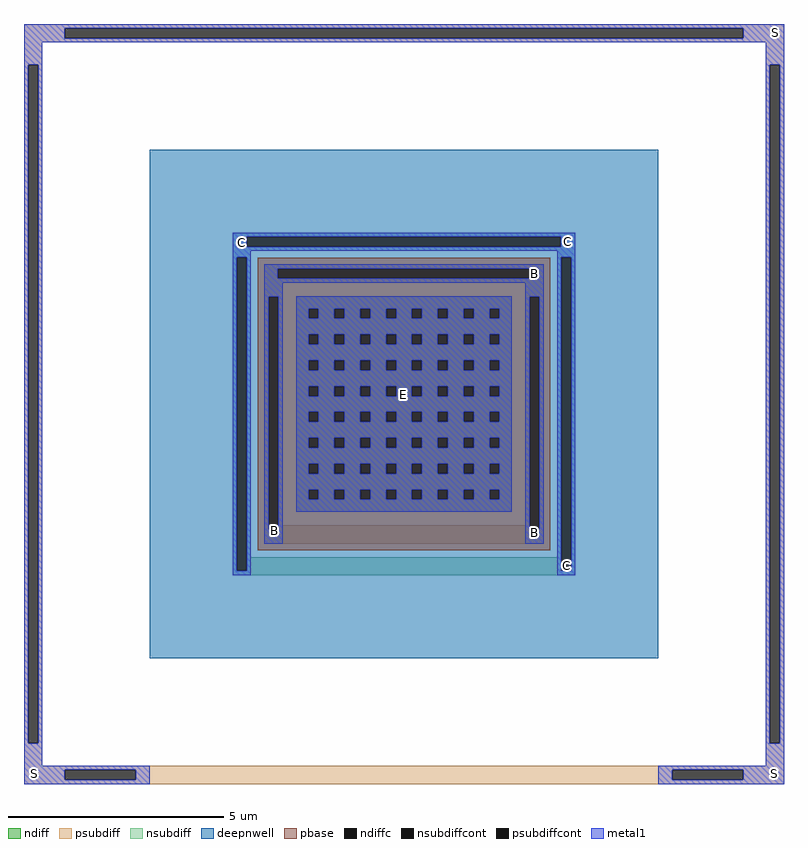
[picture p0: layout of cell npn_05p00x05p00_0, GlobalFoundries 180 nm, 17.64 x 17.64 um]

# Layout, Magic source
magic
tech gf180mcuD
magscale 1 10
<< deepnwell >>
rect -680 -680 1680 1680
<< pbase >>
rect -180 -180 1180 1180
<< ndiff >>
rect 0 943 1000 1000
rect 0 897 57 943
rect 103 897 177 943
rect 223 897 297 943
rect 343 897 417 943
rect 463 897 537 943
rect 583 897 657 943
rect 703 897 777 943
rect 823 897 897 943
rect 943 897 1000 943
rect 0 823 1000 897
rect 0 777 57 823
rect 103 777 177 823
rect 223 777 297 823
rect 343 777 417 823
rect 463 777 537 823
rect 583 777 657 823
rect 703 777 777 823
rect 823 777 897 823
rect 943 777 1000 823
rect 0 703 1000 777
rect 0 657 57 703
rect 103 657 177 703
rect 223 657 297 703
rect 343 657 417 703
rect 463 657 537 703
rect 583 657 657 703
rect 703 657 777 703
rect 823 657 897 703
rect 943 657 1000 703
rect 0 583 1000 657
rect 0 537 57 583
rect 103 537 177 583
rect 223 537 297 583
rect 343 537 417 583
rect 463 537 537 583
rect 583 537 657 583
rect 703 537 777 583
rect 823 537 897 583
rect 943 537 1000 583
rect 0 463 1000 537
rect 0 417 57 463
rect 103 417 177 463
rect 223 417 297 463
rect 343 417 417 463
rect 463 417 537 463
rect 583 417 657 463
rect 703 417 777 463
rect 823 417 897 463
rect 943 417 1000 463
rect 0 343 1000 417
rect 0 297 57 343
rect 103 297 177 343
rect 223 297 297 343
rect 343 297 417 343
rect 463 297 537 343
rect 583 297 657 343
rect 703 297 777 343
rect 823 297 897 343
rect 943 297 1000 343
rect 0 223 1000 297
rect 0 177 57 223
rect 103 177 177 223
rect 223 177 297 223
rect 343 177 417 223
rect 463 177 537 223
rect 583 177 657 223
rect 703 177 777 223
rect 823 177 897 223
rect 943 177 1000 223
rect 0 103 1000 177
rect 0 57 57 103
rect 103 57 177 103
rect 223 57 297 103
rect 343 57 417 103
rect 463 57 537 103
rect 583 57 657 103
rect 703 57 777 103
rect 823 57 897 103
rect 943 57 1000 103
rect 0 0 1000 57
<< ndiffc >>
rect 57 897 103 943
rect 177 897 223 943
rect 297 897 343 943
rect 417 897 463 943
rect 537 897 583 943
rect 657 897 703 943
rect 777 897 823 943
rect 897 897 943 943
rect 57 777 103 823
rect 177 777 223 823
rect 297 777 343 823
rect 417 777 463 823
rect 537 777 583 823
rect 657 777 703 823
rect 777 777 823 823
rect 897 777 943 823
rect 57 657 103 703
rect 177 657 223 703
rect 297 657 343 703
rect 417 657 463 703
rect 537 657 583 703
rect 657 657 703 703
rect 777 657 823 703
rect 897 657 943 703
rect 57 537 103 583
rect 177 537 223 583
rect 297 537 343 583
rect 417 537 463 583
rect 537 537 583 583
rect 657 537 703 583
rect 777 537 823 583
rect 897 537 943 583
rect 57 417 103 463
rect 177 417 223 463
rect 297 417 343 463
rect 417 417 463 463
rect 537 417 583 463
rect 657 417 703 463
rect 777 417 823 463
rect 897 417 943 463
rect 57 297 103 343
rect 177 297 223 343
rect 297 297 343 343
rect 417 297 463 343
rect 537 297 583 343
rect 657 297 703 343
rect 777 297 823 343
rect 897 297 943 343
rect 57 177 103 223
rect 177 177 223 223
rect 297 177 343 223
rect 417 177 463 223
rect 537 177 583 223
rect 657 177 703 223
rect 777 177 823 223
rect 897 177 943 223
rect 57 57 103 103
rect 177 57 223 103
rect 297 57 343 103
rect 417 57 463 103
rect 537 57 583 103
rect 657 57 703 103
rect 777 57 823 103
rect 897 57 943 103
<< psubdiff >>
rect -1264 2245 2264 2264
rect -1264 2199 -1074 2245
rect 2074 2199 2264 2245
rect -1264 2180 2264 2199
rect -1264 2074 -1180 2180
rect -1264 -1074 -1245 2074
rect -1199 -1074 -1180 2074
rect 2180 2074 2264 2180
rect -148 1129 1148 1148
rect -148 1083 -87 1129
rect 1087 1083 1148 1129
rect -148 1064 1148 1083
rect -148 999 -64 1064
rect -148 -81 -129 999
rect -83 -64 -64 999
rect 1064 999 1148 1064
rect 1064 -64 1083 999
rect -83 -81 1083 -64
rect 1129 -81 1148 999
rect -148 -148 1148 -81
rect -1264 -1180 -1180 -1074
rect 2180 -1074 2199 2074
rect 2245 -1074 2264 2074
rect 2180 -1180 2264 -1074
rect -1264 -1199 2264 -1180
rect -1264 -1245 -1074 -1199
rect -746 -1245 1746 -1199
rect 2074 -1245 2264 -1199
rect -1264 -1264 2264 -1245
<< nsubdiff >>
rect -296 1277 1296 1296
rect -296 1231 -229 1277
rect 1227 1231 1296 1277
rect -296 1212 1296 1231
rect -296 1181 -212 1212
rect -296 -275 -277 1181
rect -231 -212 -212 1181
rect 1212 1181 1296 1212
rect 1212 -212 1231 1181
rect -231 -275 1231 -212
rect 1277 -275 1296 1181
rect -296 -296 1296 -275
<< psubdiffcont >>
rect -1074 2199 2074 2245
rect -1245 -1074 -1199 2074
rect -87 1083 1087 1129
rect -129 -81 -83 999
rect 1083 -81 1129 999
rect 2199 -1074 2245 2074
rect -1074 -1245 -746 -1199
rect 1746 -1245 2074 -1199
<< nsubdiffcont >>
rect -229 1231 1227 1277
rect -277 -275 -231 1181
rect 1231 -275 1277 1181
<< metal1 >>
rect -1264 2245 2264 2264
rect -1264 2199 -1074 2245
rect 2074 2199 2264 2245
rect -1264 2180 2264 2199
rect -1264 2074 -1180 2180
rect -1264 -1074 -1245 2074
rect -1199 -1074 -1180 2074
rect 2180 2074 2264 2180
rect -296 1277 1296 1296
rect -296 1231 -229 1277
rect 1227 1231 1296 1277
rect -296 1212 1296 1231
rect -296 1181 -212 1212
rect -296 -275 -277 1181
rect -231 -275 -212 1181
rect 1212 1181 1296 1212
rect -148 1129 1148 1148
rect -148 1083 -87 1129
rect 1087 1083 1148 1129
rect -148 1064 1148 1083
rect -148 999 -64 1064
rect -148 -81 -129 999
rect -83 -81 -64 999
rect 0 943 1000 1000
rect 0 897 57 943
rect 103 897 177 943
rect 223 897 297 943
rect 343 897 417 943
rect 463 897 537 943
rect 583 897 657 943
rect 703 897 777 943
rect 823 897 897 943
rect 943 897 1000 943
rect 0 823 1000 897
rect 0 777 57 823
rect 103 777 177 823
rect 223 777 297 823
rect 343 777 417 823
rect 463 777 537 823
rect 583 777 657 823
rect 703 777 777 823
rect 823 777 897 823
rect 943 777 1000 823
rect 0 703 1000 777
rect 0 657 57 703
rect 103 657 177 703
rect 223 657 297 703
rect 343 657 417 703
rect 463 657 537 703
rect 583 657 657 703
rect 703 657 777 703
rect 823 657 897 703
rect 943 657 1000 703
rect 0 583 1000 657
rect 0 537 57 583
rect 103 537 177 583
rect 223 537 297 583
rect 343 537 417 583
rect 463 537 537 583
rect 583 537 657 583
rect 703 537 777 583
rect 823 537 897 583
rect 943 537 1000 583
rect 0 463 1000 537
rect 0 417 57 463
rect 103 417 177 463
rect 223 417 297 463
rect 343 417 417 463
rect 463 417 537 463
rect 583 417 657 463
rect 703 417 777 463
rect 823 417 897 463
rect 943 417 1000 463
rect 0 343 1000 417
rect 0 297 57 343
rect 103 297 177 343
rect 223 297 297 343
rect 343 297 417 343
rect 463 297 537 343
rect 583 297 657 343
rect 703 297 777 343
rect 823 297 897 343
rect 943 297 1000 343
rect 0 223 1000 297
rect 0 177 57 223
rect 103 177 177 223
rect 223 177 297 223
rect 343 177 417 223
rect 463 177 537 223
rect 583 177 657 223
rect 703 177 777 223
rect 823 177 897 223
rect 943 177 1000 223
rect 0 103 1000 177
rect 0 57 57 103
rect 103 57 177 103
rect 223 57 297 103
rect 343 57 417 103
rect 463 57 537 103
rect 583 57 657 103
rect 703 57 777 103
rect 823 57 897 103
rect 943 57 1000 103
rect 0 0 1000 57
rect 1064 999 1148 1064
rect -148 -148 -64 -81
rect 1064 -81 1083 999
rect 1129 -81 1148 999
rect 1064 -148 1148 -81
rect -296 -296 -212 -275
rect 1212 -275 1231 1181
rect 1277 -275 1296 1181
rect 1212 -296 1296 -275
rect -1264 -1180 -1180 -1074
rect 2180 -1074 2199 2074
rect 2245 -1074 2264 2074
rect 2180 -1180 2264 -1074
rect -1264 -1199 -680 -1180
rect -1264 -1245 -1074 -1199
rect -746 -1245 -680 -1199
rect -1264 -1264 -680 -1245
rect 1680 -1199 2264 -1180
rect 1680 -1245 1746 -1199
rect 2074 -1245 2264 -1199
rect 1680 -1264 2264 -1245
<< labels >>
flabel metal1 -1215 -1215 -1215 -1215 0 FreeSans 400 0 0 0 S
flabel metal1 -1215 -1215 -1215 -1215 0 FreeSans 400 0 0 0 S
flabel metal1 2221 -1216 2221 -1216 0 FreeSans 400 0 0 0 S
flabel metal1 2221 -1216 2221 -1216 0 FreeSans 400 0 0 0 S
flabel metal1 2224 2224 2224 2224 0 FreeSans 400 0 0 0 S
flabel metal1 497 545 497 545 0 FreeSans 400 0 0 0 E
flabel metal1 1107 -97 1107 -97 0 FreeSans 400 0 0 0 B
flabel metal1 1107 1108 1107 1108 0 FreeSans 400 0 0 0 B
flabel metal1 -103 -86 -103 -86 0 FreeSans 400 0 0 0 B
flabel metal1 -255 1248 -255 1248 0 FreeSans 400 0 0 0 C
flabel nsubdiffcont 1256 -248 1256 -248 0 FreeSans 400 0 0 0 C
flabel metal1 1259 1253 1259 1253 0 FreeSans 400 0 0 0 C
<< properties >>
string GDS_END 19692
string GDS_FILE $PDKPATH/libs.ref/gf180mcu_fd_pr/gds/npn_05p00x05p00.gds
string GDS_START 112
string gencell npn_05p00x05p00
string library gf180mcu
string parameter m=1
<< end >>
